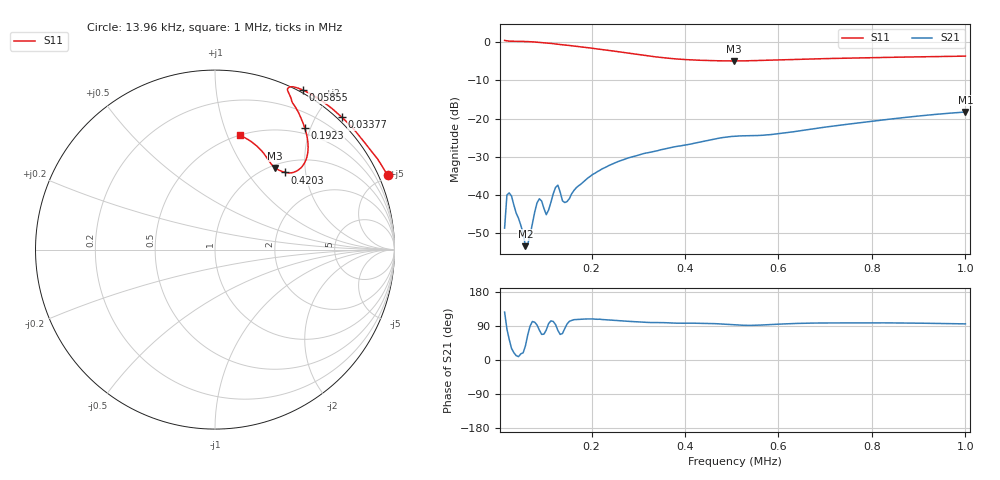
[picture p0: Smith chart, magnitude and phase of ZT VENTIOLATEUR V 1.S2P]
!Agilent Technologies,E5071C,MY46109397,A.09.54
!Date: Mon Jan 01 02:04:37 2001
!Data & Calibration Information:
!Freq	S11:SOLT1(ON)	S21:RESPT(ON)	S12:NONE(--)	S22:NONE(--)
# Hz S RI R 50
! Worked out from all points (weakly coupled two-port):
!   200 points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, 13.96 kHz to 1 MHz, reference 50 ohm
!   highest |S21| = -18.30 dB at 1 MHz (marker M1); lowest = -53.3 dB at 58.55 kHz (marker M2)
!   lowest |S11| = -5.0 dB at 504.5 kHz (marker M3), VSWR 3.60, Z = 52.5 + j70.2 ohm
!   |S11| at or under -10 dB: nowhere
!   S12 and S22 are empty: the file has one direction only
!   S11 on the Smith chart (normalised r, x): 13.96 kHz: -0.56, +4.78; 33.77 kHz: -0.07, +2.34; 58.55 kHz: -0.03, +1.69; 192.3 kHz: 0.41, +1.91; 420.3 kHz: 1.19, +1.55; 1 MHz: 0.50, +1.11
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13955  0.9615 0.4148  -0.0022 0.00298  0 0  0 0
18910  0.9071 0.5034  0.00144 0.00994  0 0  0 0
28820  0.7691 0.6763  0.00834 0.0049  0 0  0 0
33775  0.7073 0.737  0.00698 0.00246  0 0  0 0
53595  0.5201 0.8739  0.00301 0.00104  0 0  0 0
58550  0.4892 0.8889  0.00171 0.00131  0 0  0 0
63505  0.4644 0.899  0.000917 0.0021  0 0  0 0
83325  0.4122 0.9039  -0.000329 0.00791  0 0  0 0
88280  0.4066 0.8996  0.00169 0.00879  0 0  0 0
103145  0.4063 0.8822  0.00103 0.00546  0 0  0 0
127920  0.4277 0.8269  0.00277 0.0132  0 0  0 0
142785  0.4456 0.7978  0.000936 0.00794  0 0  0 0
182425  0.4922 0.7004  -0.00464 0.0141  0 0  0 0
192335  0.5006 0.6765  -0.0053 0.0159  0 0  0 0
256750  0.5167 0.5394  -0.0067 0.0266  0 0  0 0
345940  0.4539 0.4374  -0.00576 0.0384  0 0  0 0
420265  0.3908 0.43  -0.0059 0.0473  0 0  0 0
504500  0.3359 0.455  -0.0028 0.0585  0 0  0 0
509455  0.3329 0.4573  -0.00247 0.0588  0 0  0 0
672970  0.2715 0.5365  -0.00942 0.0725  0 0  0 0
836485  0.2134 0.5932  -0.0137 0.097  0 0  0 0
1000000  0.1388 0.6387  -0.0113 0.1212  0 0  0 0
